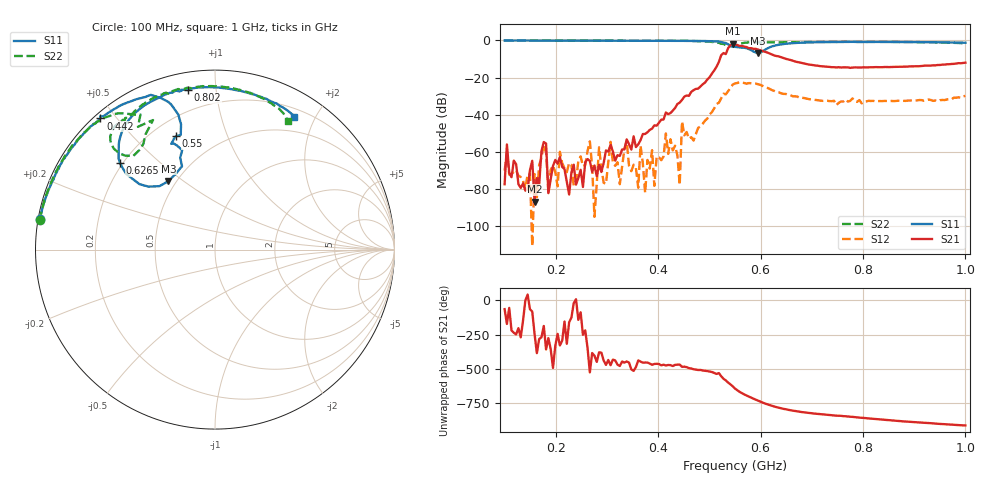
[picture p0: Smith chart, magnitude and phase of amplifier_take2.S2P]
!Agilent Technologies,E5071C,MY46101273,A.11.02
!Date: Fri Nov 03 16:34:24 2017
!Data & Calibration Information:
!Freq	S11:SOLT2(ON)	S21:SOLT2(ON)	S12:SOLT2(ON)	S22:SOLT2(ON)
!PortZ  Port1:50+j0  Port2:50+j0
!Above PortZ is port z conversion or system Z0 setting when saving the data.
!When reading, reference impedance value at option line is always used.
# Hz S dB R 50
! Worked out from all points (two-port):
!   201 points, 100 MHz to 1 GHz, reference 50 ohm
!   highest |S21| = -1.83 dB at 545.5 MHz (marker M1); lowest = -86.6 dB at 158.5 MHz (marker M2)
!   |S21| within 3 dB of the highest: 535.6 MHz to 593.4 MHz (57.78 MHz wide, 10.2 % of centre)
!   lowest |S11| = -6.7 dB at 595 MHz (marker M3), VSWR 2.71, Z = 22.7 + j22 ohm
!   |S11| at or under -10 dB: nowhere
!   |S22| runs from -3.2 to -0.1 dB; largest |S21 - S12| = 0.76
!   S11 on the Smith chart (normalised r, x): 100 MHz: 0.01, +0.09; 442 MHz: 0.02, +0.45; 550 MHz: 0.29, +0.67; 626.5 MHz: 0.19, +0.37; 802 MHz: 0.09, +0.84; 1 GHz: 0.30, +1.73
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1e8  -0.09 170.0  -77.34 -63.3  -70.04 -114.3  -0.09 170.4
1.045e8  -0.10 169.6  -55.93 -171.3  -60.17 -156.9  -0.10 170.1
1.585e8  -0.11 164.3  -86.62 115.7  -71.86 15.6  -0.10 165.3
1.765e8  -0.12 162.5  -54.64 173.8  -55.92 8.3  -0.06 163.8
1.855e8  -0.12 161.6  -82.12 85.2  -81.63 -67.2  -0.09 162.7
2.08e8  -0.14 159.3  -62.71 31.5  -59.90 148.6  -0.11 160.7
2.53e8  -0.15 154.5  -78.79 109.3  -67.61 -85.8  -0.11 156.3
3.61e8  -0.19 142.6  -55.91 -77.1  -79.22 142.3  -0.14 145.2
3.655e8  -0.20 142.1  -53.63 -86.0  -56.57 -88.9  -0.13 144.6
3.745e8  -0.19 141.0  -50.30 -92.8  -82.02 -129.0  -0.14 143.6
4.015e8  -0.22 137.4  -44.27 -103.5  -62.85 2.3  -0.19 140.5
4.24e8  -0.25 134.2  -39.06 -111.8  -53.16 -137.3  -0.21 137.6
4.42e8  -0.26 131.1  -33.45 -107.5  -77.74 102.1  -0.25 135.0
4.465e8  -0.18 130.7  -32.03 -124.1  -43.59 131.9  -0.20 134.4
5.455e8  -3.51 106.6  -1.83 94.5  -23.79 54.4  -3.19 131.1
5.5e8  -3.51 109.1  -2.32 77.5  -23.15 40.2  -2.83 133.6
5.95e8  -6.71 124.2  -4.98 -10.8  -23.58 -66.5  -1.06 126.1
6.265e8  -2.92 137.7  -8.12 -53.4  -27.15 -112.6  -1.07 122.4
7.03e8  -1.04 118.6  -13.35 -104.2  -31.85 -159.7  -0.82 113.1
8.02e8  -0.90 99.6  -14.48 -137.0  -33.00 155.4  -0.80 98.9
8.515e8  -0.87 91.3  -14.38 -153.8  -32.63 154.2  -0.82 90.5
1e9  -1.29 59.1  -12.00 168.3  -29.85 153.9  -1.66 60.4
